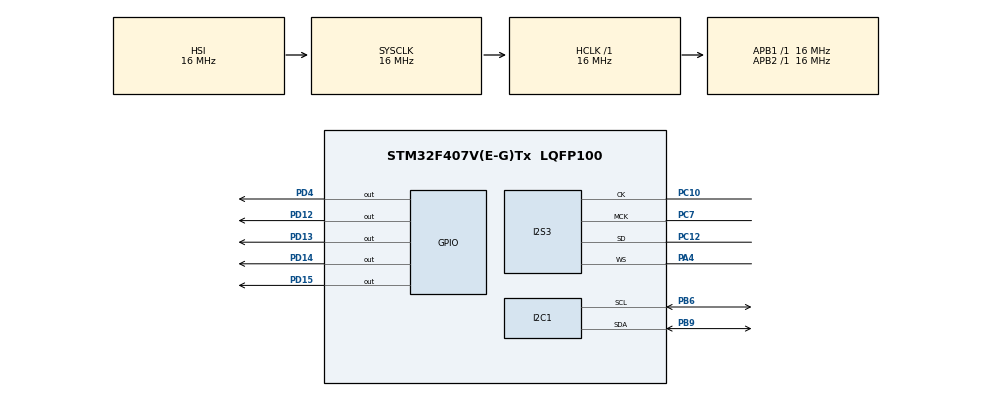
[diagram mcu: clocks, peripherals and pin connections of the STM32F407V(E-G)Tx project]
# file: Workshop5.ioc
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Dma.Request0=SPI3_TX
Dma.SPI3_TX.0.Direction=DMA_MEMORY_TO_PERIPH
Dma.SPI3_TX.0.FIFOMode=DMA_FIFOMODE_ENABLE
Dma.SPI3_TX.0.FIFOThreshold=DMA_FIFO_THRESHOLD_FULL
Dma.SPI3_TX.0.Instance=DMA1_Stream5
Dma.SPI3_TX.0.MemBurst=DMA_MBURST_SINGLE
Dma.SPI3_TX.0.MemDataAlignment=DMA_MDATAALIGN_HALFWORD
Dma.SPI3_TX.0.MemInc=DMA_MINC_ENABLE
Dma.SPI3_TX.0.Mode=DMA_CIRCULAR
Dma.SPI3_TX.0.PeriphBurst=DMA_PBURST_SINGLE
Dma.SPI3_TX.0.PeriphDataAlignment=DMA_PDATAALIGN_HALFWORD
Dma.SPI3_TX.0.PeriphInc=DMA_PINC_DISABLE
Dma.SPI3_TX.0.Priority=DMA_PRIORITY_LOW
I2S3.AudioFreq=I2S_AUDIOFREQ_48K
I2S3.ErrorAudioFreq=-2.34 %
I2S3.FullDuplexMode=I2S_FULLDUPLEXMODE_DISABLE
I2S3.Instance=SPI$Index
I2S3.RealAudioFreq=46.875 KHz
I2S3.VirtualMode=I2S_MODE_MASTER
Mcu.Family=STM32F4
Mcu.Name=STM32F407V(E-G)Tx
Mcu.Package=LQFP100
NVIC.DMA1_Stream5_IRQn=true\:0\:0\:false\:false\:true\:false\:true\:true
NVIC.PriorityGroup=NVIC_PRIORITYGROUP_4
PA4.Mode=Half_Duplex_Master
PA4.Signal=I2S3_WS
PB6.Mode=I2C
PB6.Signal=I2C1_SCL
PB9.Mode=I2C
PB9.Signal=I2C1_SDA
PC10.Mode=Half_Duplex_Master
PC10.Signal=I2S3_CK
PC12.Mode=Half_Duplex_Master
PC12.Signal=I2S3_SD
PC7.Mode=Master_Clock_Activated
PC7.Signal=I2S3_MCK
PD12.Signal=GPIO_Output
PD13.Signal=GPIO_Output
PD14.Signal=GPIO_Output
PD15.Signal=GPIO_Output
PD4.Signal=GPIO_Output
ProjectManager.HeapSize=0x200
ProjectManager.StackSize=0x400
ProjectManager.TargetToolchain=STM32CubeIDE
RCC.AHBFreq_Value=16000000
RCC.APB1Freq_Value=16000000
RCC.APB2Freq_Value=16000000
RCC.CortexFreq_Value=16000000
RCC.HSE_VALUE=25000000
RCC.HSI_VALUE=16000000
RCC.LSE_VALUE=32768
RCC.SYSCLKFreq_VALUE=16000000
RCC.VCOOutputFreq_Value=192000000
board=custom

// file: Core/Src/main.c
/* USER CODE BEGIN Header */
/**
  ******************************************************************************
  * @file           : main.c
  * @brief          : Main program body
  ******************************************************************************
  * @attention
  *
  * Copyright (c) 2024 STMicroelectronics.
  * All rights reserved.
  *
  * This software is licensed under terms that can be found in the LICENSE file
  * in the root directory of this software component.
  * If no LICENSE file comes with this software, it is provided AS-IS.
  *
  ******************************************************************************
  */
/* USER CODE END Header */
#include "main.h"

/* USER CODE BEGIN PTD */
typedef enum
{
	C4,
	C5,
	D5,
	E5,
	F5,
	G5,
	A5,
	B5,
	C6,
	D6,
	E6,
	F6,
	G6,
	A6,
	B6,
	C7,
	MAX_VALUE
} soundToneType;
/* USER CODE END PTD */

/* USER CODE BEGIN PD */
#define CS43L22_I2C_ADDRESS		0x94
#define I2C_TIMEOUT				10
/* USER CODE END PD */

I2C_HandleTypeDef hi2c1;

I2S_HandleTypeDef hi2s3;
DMA_HandleTypeDef hdma_spi3_tx;

/* USER CODE BEGIN PV */
int16_t dataI2S[100] = {0};
/* USER CODE END PV */

void SystemClock_Config(void);
static void MX_GPIO_Init(void);
static void MX_DMA_Init(void);
static void MX_I2C1_Init(void);
static void MX_I2S3_Init(void);

/* USER CODE BEGIN 0 */
void CS43L22_Init(void)
{
	HAL_GPIO_WritePin(GPIOD, GPIO_PIN_4, GPIO_PIN_SET);

	uint8_t TxBuffer[2];

	TxBuffer[0] = 0x0D;
	TxBuffer[1] = 0x01;
	HAL_I2C_Master_Transmit(&hi2c1, CS43L22_I2C_ADDRESS, (uint8_t*) &TxBuffer, 2, I2C_TIMEOUT);

	TxBuffer[0] = 0x00;
	TxBuffer[1] = 0x99;
	HAL_I2C_Master_Transmit(&hi2c1, CS43L22_I2C_ADDRESS, (uint8_t*) &TxBuffer, 2, I2C_TIMEOUT);

	TxBuffer[0] = 0x47;
	TxBuffer[1] = 0x80;
	HAL_I2C_Master_Transmit(&hi2c1, CS43L22_I2C_ADDRESS, (uint8_t*) &TxBuffer, 2, I2C_TIMEOUT);

	TxBuffer[0] = 0x32;
	TxBuffer[1] = 0xFF;
	HAL_I2C_Master_Transmit(&hi2c1, CS43L22_I2C_ADDRESS, (uint8_t*) &TxBuffer, 2, I2C_TIMEOUT);

	TxBuffer[0] = 0x32;
	TxBuffer[1] = 0x7F;
	HAL_I2C_Master_Transmit(&hi2c1, CS43L22_I2C_ADDRESS, (uint8_t*) &TxBuffer, 2, I2C_TIMEOUT);

	TxBuffer[0] = 0x00;
	TxBuffer[1] = 0x00;
	HAL_I2C_Master_Transmit(&hi2c1, CS43L22_I2C_ADDRESS, (uint8_t*) &TxBuffer, 2, I2C_TIMEOUT);

	TxBuffer[0] = 0x04;
	TxBuffer[1] = 0xAF;
	HAL_I2C_Master_Transmit(&hi2c1, CS43L22_I2C_ADDRESS, (uint8_t*) &TxBuffer, 2, I2C_TIMEOUT);

	TxBuffer[0] = 0x0D;
	TxBuffer[1] = 0x70;
	HAL_I2C_Master_Transmit(&hi2c1, CS43L22_I2C_ADDRESS, (uint8_t*) &TxBuffer, 2, I2C_TIMEOUT);

	TxBuffer[0] = 0x05;
	TxBuffer[1] = 0x81;
	HAL_I2C_Master_Transmit(&hi2c1, CS43L22_I2C_ADDRESS, (uint8_t*) &TxBuffer, 2, I2C_TIMEOUT);

	TxBuffer[0] = 0x06;
	TxBuffer[1] = 0x07;
	HAL_I2C_Master_Transmit(&hi2c1, CS43L22_I2C_ADDRESS, (uint8_t*) &TxBuffer, 2, I2C_TIMEOUT);

	TxBuffer[0] = 0x0A;
	TxBuffer[1] = 0x00;
	HAL_I2C_Master_Transmit(&hi2c1, CS43L22_I2C_ADDRESS, (uint8_t*) &TxBuffer, 2, I2C_TIMEOUT);

	TxBuffer[0] = 0x27;
	TxBuffer[1] = 0x00;
	HAL_I2C_Master_Transmit(&hi2c1, CS43L22_I2C_ADDRESS, (uint8_t*) &TxBuffer, 2, I2C_TIMEOUT);

	TxBuffer[0] = 0x1A;
	TxBuffer[1] = 0x0A;
	HAL_I2C_Master_Transmit(&hi2c1, CS43L22_I2C_ADDRESS, (uint8_t*) &TxBuffer, 2, I2C_TIMEOUT);

	TxBuffer[0] = 0x1B;
	TxBuffer[1] = 0x0A;
	HAL_I2C_Master_Transmit(&hi2c1, CS43L22_I2C_ADDRESS, (uint8_t*) &TxBuffer, 2, I2C_TIMEOUT);

	TxBuffer[0] = 0x1F;
	TxBuffer[1] = 0x0F;
	HAL_I2C_Master_Transmit(&hi2c1, CS43L22_I2C_ADDRESS, (uint8_t*) &TxBuffer, 2, I2C_TIMEOUT);

	TxBuffer[0] = 0x02;
	TxBuffer[1] = 0x9E;
	HAL_I2C_Master_Transmit(&hi2c1, CS43L22_I2C_ADDRESS, (uint8_t*) &TxBuffer, 2, I2C_TIMEOUT);
}

void CS43L22_Beep(soundToneType pitch, uint32_t duration_ms)
{
	uint8_t TxBuffer[2];

	TxBuffer[0] = 0x1D;
	TxBuffer[1] = 0x00;
	HAL_I2C_Master_Transmit(&hi2c1, CS43L22_I2C_ADDRESS, (uint8_t*) &TxBuffer, 2, I2C_TIMEOUT);

	TxBuffer[0] = 0x1C;
    switch (pitch)
    {
        case C4:
            TxBuffer[1] = 0x00;
            HAL_GPIO_WritePin(GPIOD, GPIO_PIN_12, GPIO_PIN_SET);
            break;
        case C5:
            TxBuffer[1] = 0x70;
            HAL_GPIO_WritePin(GPIOD, GPIO_PIN_13, GPIO_PIN_SET);
            break;
        case D5:
            TxBuffer[1] = 0x80;
            HAL_GPIO_WritePin(GPIOD, GPIO_PIN_14, GPIO_PIN_SET);
            break;
        case E5:
            TxBuffer[1] = 0x90;
            HAL_GPIO_WritePin(GPIOD, GPIO_PIN_15, GPIO_PIN_SET);
            break;
        case F5:
            TxBuffer[1] = 0xA0;
            HAL_GPIO_WritePin(GPIOD, GPIO_PIN_12, GPIO_PIN_SET);
            break;
        case G5:
            TxBuffer[1] = 0xB0;
            HAL_GPIO_WritePin(GPIOD, GPIO_PIN_13, GPIO_PIN_SET);
            break;
        case A5:
            TxBuffer[1] = 0xC0;
            HAL_GPIO_WritePin(GPIOD, GPIO_PIN_14, GPIO_PIN_SET);
            break;
        case B5:
            TxBuffer[1] = 0xD0;
            HAL_GPIO_WritePin(GPIOD, GPIO_PIN_15, GPIO_PIN_SET);
            break;
        case C6:
            TxBuffer[1] = 0xE0;
            HAL_GPIO_WritePin(GPIOD, GPIO_PIN_12, GPIO_PIN_SET);
            break;
        case D6:
            TxBuffer[1] = 0xF0;
            HAL_GPIO_WritePin(GPIOD, GPIO_PIN_13, GPIO_PIN_SET);
            break;
        case E6:
            TxBuffer[1] = 0xF1;
            HAL_GPIO_WritePin(GPIOD, GPIO_PIN_14, GPIO_PIN_SET);
            break;
        case F6:
            TxBuffer[1] = 0xF2;
            HAL_GPIO_WritePin(GPIOD, GPIO_PIN_15, GPIO_PIN_SET);
            break;
        case G6:
            TxBuffer[1] = 0xF3;
            HAL_GPIO_WritePin(GPIOD, GPIO_PIN_12, GPIO_PIN_SET);
            break;
        case A6:
            TxBuffer[1] = 0xF4;
            HAL_GPIO_WritePin(GPIOD, GPIO_PIN_13, GPIO_PIN_SET);
            break;
        case B6:
            TxBuffer[1] = 0xF5;
            HAL_GPIO_WritePin(GPIOD, GPIO_PIN_14, GPIO_PIN_SET);
            break;
        case C7:
            TxBuffer[1] = 0xF6;
            HAL_GPIO_WritePin(GPIOD, GPIO_PIN_15, GPIO_PIN_SET);
            break;
        case MAX_VALUE:
        default:
            TxBuffer[1] = 0x00;
            break;
    }
	HAL_I2C_Master_Transmit(&hi2c1, CS43L22_I2C_ADDRESS, (uint8_t*) &TxBuffer, 2, I2C_TIMEOUT);

	TxBuffer[0] = 0x1E;
	TxBuffer[1] = 0xC0;
	HAL_I2C_Master_Transmit(&hi2c1, CS43L22_I2C_ADDRESS, (uint8_t*) &TxBuffer, 2, I2C_TIMEOUT);

	HAL_Delay(duration_ms);

	TxBuffer[0] = 0x1E;
	TxBuffer[1] = 0x00;
	HAL_I2C_Master_Transmit(&hi2c1, CS43L22_I2C_ADDRESS, (uint8_t*) &TxBuffer, 2, I2C_TIMEOUT);

	HAL_GPIO_WritePin(GPIOD, GPIO_PIN_12, GPIO_PIN_RESET);
	HAL_GPIO_WritePin(GPIOD, GPIO_PIN_13, GPIO_PIN_RESET);
	HAL_GPIO_WritePin(GPIOD, GPIO_PIN_14, GPIO_PIN_RESET);
	HAL_GPIO_WritePin(GPIOD, GPIO_PIN_15, GPIO_PIN_RESET);
}
/* USER CODE END 0 */

int main(void)
{

  /* MCU Configuration--------------------------------------------------------*/

  /* Reset of all peripherals, Initializes the Flash interface and the Systick. */
  HAL_Init();

  /* Configure the system clock */
  SystemClock_Config();

  /* Initialize all configured peripherals */
  MX_GPIO_Init();
  MX_DMA_Init();
  MX_I2C1_Init();
  MX_I2S3_Init();
  /* USER CODE BEGIN 2 */
  // Init DAC
  CS43L22_Init();

  // Transmit empty data
  HAL_I2S_Transmit_DMA(&hi2s3, (uint16_t *)dataI2S, 100);
  /* USER CODE END 2 */

  /* Infinite loop */
  /* USER CODE BEGIN WHILE */
for (unsigned int i = 0; i < 4; i++) {
	CS43L22_Beep(E5, 300);
	    HAL_Delay(50);
	    CS43L22_Beep(F5, 300);
	    HAL_Delay(50);
	    CS43L22_Beep(E5, 300);
	    HAL_Delay(50);
	    CS43L22_Beep(F5, 300);
	    HAL_Delay(50);
	    CS43L22_Beep(E5, 300);
	    HAL_Delay(50);
	    CS43L22_Beep(F5, 300);
	    HAL_Delay(50);
	    CS43L22_Beep(E5, 300);
	    HAL_Delay(50);
	    CS43L22_Beep(F5, 300);
		HAL_Delay(50);
		CS43L22_Beep(D5, 1000);
		HAL_Delay(50);

	    // Друга фраза
		   HAL_Delay(50);
		   CS43L22_Beep(F5, 300);
			HAL_Delay(50);
			CS43L22_Beep(E5, 300);
			HAL_Delay(50);
			CS43L22_Beep(F5, 300);
			HAL_Delay(50);
			CS43L22_Beep(E5, 300);
			HAL_Delay(50);
			CS43L22_Beep(F5, 300);
			HAL_Delay(50);
			CS43L22_Beep(E5, 300);
			HAL_Delay(50);
			CS43L22_Beep(F5, 300);
			HAL_Delay(50);
			CS43L22_Beep(G5, 1000);
			HAL_Delay(50);
}

      /* USER CODE END WHILE */

}

void SystemClock_Config(void)
{
  RCC_OscInitTypeDef RCC_OscInitStruct = {0};
  RCC_ClkInitTypeDef RCC_ClkInitStruct = {0};

  /** Macro to configure the PLL multiplication factor
  */
  __HAL_RCC_PLL_PLLM_CONFIG(16);

  /** Macro to configure the PLL clock source
  */
  __HAL_RCC_PLL_PLLSOURCE_CONFIG(RCC_PLLSOURCE_HSI);

  /** Configure the main internal regulator output voltage
  */
  __HAL_RCC_PWR_CLK_ENABLE();
  __HAL_PWR_VOLTAGESCALING_CONFIG(PWR_REGULATOR_VOLTAGE_SCALE1);

  /** Initializes the RCC Oscillators according to the specified parameters
  * in the RCC_OscInitTypeDef structure.
  */
  RCC_OscInitStruct.OscillatorType = RCC_OSCILLATORTYPE_HSI;
  RCC_OscInitStruct.HSIState = RCC_HSI_ON;
  RCC_OscInitStruct.HSICalibrationValue = RCC_HSICALIBRATION_DEFAULT;
  RCC_OscInitStruct.PLL.PLLState = RCC_PLL_NONE;
  RCC_OscInitStruct.PLL.PLLSource = RCC_PLLSOURCE_HSI;
  if (HAL_RCC_OscConfig(&RCC_OscInitStruct) != HAL_OK)
  {
    Error_Handler();
  }

  /** Initializes the CPU, AHB and APB buses clocks
  */
  RCC_ClkInitStruct.ClockType = RCC_CLOCKTYPE_HCLK|RCC_CLOCKTYPE_SYSCLK
                              |RCC_CLOCKTYPE_PCLK1|RCC_CLOCKTYPE_PCLK2;
  RCC_ClkInitStruct.SYSCLKSource = RCC_SYSCLKSOURCE_HSI;
  RCC_ClkInitStruct.AHBCLKDivider = RCC_SYSCLK_DIV1;
  RCC_ClkInitStruct.APB1CLKDivider = RCC_HCLK_DIV1;
  RCC_ClkInitStruct.APB2CLKDivider = RCC_HCLK_DIV1;

  if (HAL_RCC_ClockConfig(&RCC_ClkInitStruct, FLASH_LATENCY_0) != HAL_OK)
  {
    Error_Handler();
  }
}

static void MX_I2C1_Init(void)
{

  hi2c1.Instance = I2C1;
  hi2c1.Init.ClockSpeed = 100000;
  hi2c1.Init.DutyCycle = I2C_DUTYCYCLE_2;
  hi2c1.Init.OwnAddress1 = 0;
  hi2c1.Init.AddressingMode = I2C_ADDRESSINGMODE_7BIT;
  hi2c1.Init.DualAddressMode = I2C_DUALADDRESS_DISABLE;
  hi2c1.Init.OwnAddress2 = 0;
  hi2c1.Init.GeneralCallMode = I2C_GENERALCALL_DISABLE;
  hi2c1.Init.NoStretchMode = I2C_NOSTRETCH_DISABLE;
  if (HAL_I2C_Init(&hi2c1) != HAL_OK)
  {
    Error_Handler();
  }

}

static void MX_I2S3_Init(void)
{

  hi2s3.Instance = SPI3;
  hi2s3.Init.Mode = I2S_MODE_MASTER_TX;
  hi2s3.Init.Standard = I2S_STANDARD_PHILIPS;
  hi2s3.Init.DataFormat = I2S_DATAFORMAT_16B;
  hi2s3.Init.MCLKOutput = I2S_MCLKOUTPUT_ENABLE;
  hi2s3.Init.AudioFreq = I2S_AUDIOFREQ_48K;
  hi2s3.Init.CPOL = I2S_CPOL_LOW;
  hi2s3.Init.ClockSource = I2S_CLOCK_PLL;
  hi2s3.Init.FullDuplexMode = I2S_FULLDUPLEXMODE_DISABLE;
  if (HAL_I2S_Init(&hi2s3) != HAL_OK)
  {
    Error_Handler();
  }

}

static void MX_DMA_Init(void)
{

  /* DMA controller clock enable */
  __HAL_RCC_DMA1_CLK_ENABLE();

  /* DMA interrupt init */
  /* DMA1_Stream5_IRQn interrupt configuration */
  HAL_NVIC_SetPriority(DMA1_Stream5_IRQn, 0, 0);
  HAL_NVIC_EnableIRQ(DMA1_Stream5_IRQn);

}

static void MX_GPIO_Init(void)
{
  GPIO_InitTypeDef GPIO_InitStruct = {0};

  /* GPIO Ports Clock Enable */
  __HAL_RCC_GPIOA_CLK_ENABLE();
  __HAL_RCC_GPIOD_CLK_ENABLE();
  __HAL_RCC_GPIOC_CLK_ENABLE();
  __HAL_RCC_GPIOB_CLK_ENABLE();

  /*Configure GPIO pin Output Level */
  HAL_GPIO_WritePin(GPIOD, GPIO_PIN_12|GPIO_PIN_13|GPIO_PIN_14|GPIO_PIN_15
                          |GPIO_PIN_4, GPIO_PIN_RESET);

  /*Configure GPIO pins : PD12 PD13 PD14 PD15
                           PD4 */
  GPIO_InitStruct.Pin = GPIO_PIN_12|GPIO_PIN_13|GPIO_PIN_14|GPIO_PIN_15
                          |GPIO_PIN_4;
  GPIO_InitStruct.Mode = GPIO_MODE_OUTPUT_PP;
  GPIO_InitStruct.Pull = GPIO_NOPULL;
  GPIO_InitStruct.Speed = GPIO_SPEED_FREQ_LOW;
  HAL_GPIO_Init(GPIOD, &GPIO_InitStruct);

}

void Error_Handler(void)
{
  __disable_irq();
  while (1)
  {
  }
}
